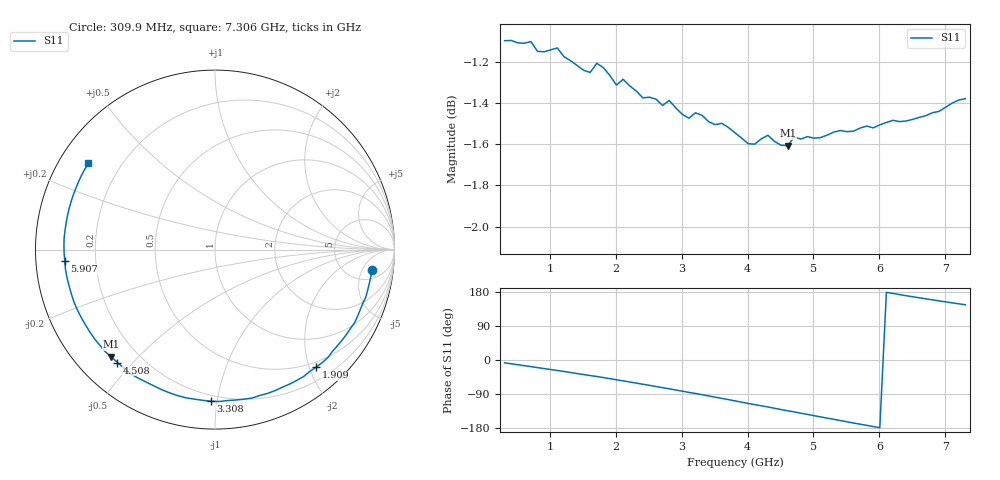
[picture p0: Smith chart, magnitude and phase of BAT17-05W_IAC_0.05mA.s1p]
! Infineon Technologies  Discrete & RF Semiconductors
! BAT17-05W
! IAC = 0.05 mA
! One-Port S-Parameters
# Hz  S  MA  R  50
!f  S11
!Hz  Mag  Ang
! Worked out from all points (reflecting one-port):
!   71 points, 309.9 MHz to 7.306 GHz, reference 50 ohm
!   lowest |S11| = -1.6 dB at 4.608 GHz (marker M1), VSWR 10.84, Z = 5.43 - j21 ohm
!   phase of S11 starts at -8 deg and turns -207 deg over the sweep
!   S11 on the Smith chart (normalised r, x): 309.9 MHz: 8, -8; 1.909 GHz: 0.41, -2.12; 3.308 GHz: 0.16, -0.96; 4.508 GHz: 0.11, -0.45; 5.907 GHz: 0.09, -0.04; 7.306 GHz: 0.09, +0.31
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3.0985e8  0.8814 -7.5
7.0965e8  0.8809 -17.5
1.10945e9  0.8778 -27.6
1.2094e9  0.8736 -30.3
1.70915e9  0.8703 -43.5
1.90905e9  0.8643 -49.3
2.10895e9  0.8626 -55.0
2.6087e9  0.853 -69.9
2.8086e9  0.8524 -76.0
3.0085e9  0.8458 -82.3
3.30835e9  0.8453 -91.6
3.6082e9  0.8415 -101.2
3.8081e9  0.8371 -107.9
4.10795e9  0.8318 -117.9
4.30785e9  0.8359 -123.9
4.50775e9  0.8313 -130.8
4.6077e9  0.8311 -134.1
4.70765e9  0.8351 -137.0
5.0075e9  0.8346 -146.9
5.2074e9  0.836 -153.4
5.4073e9  0.8382 -159.7
5.6072e9  0.8379 -166.3
5.90705e9  0.8394 -175.7
6.2069e9  0.843 175.6
6.50675e9  0.8434 166.8
6.8066e9  0.8466 158.7
7.10645e9  0.8512 150.8
7.30635e9  0.8532 145.7
